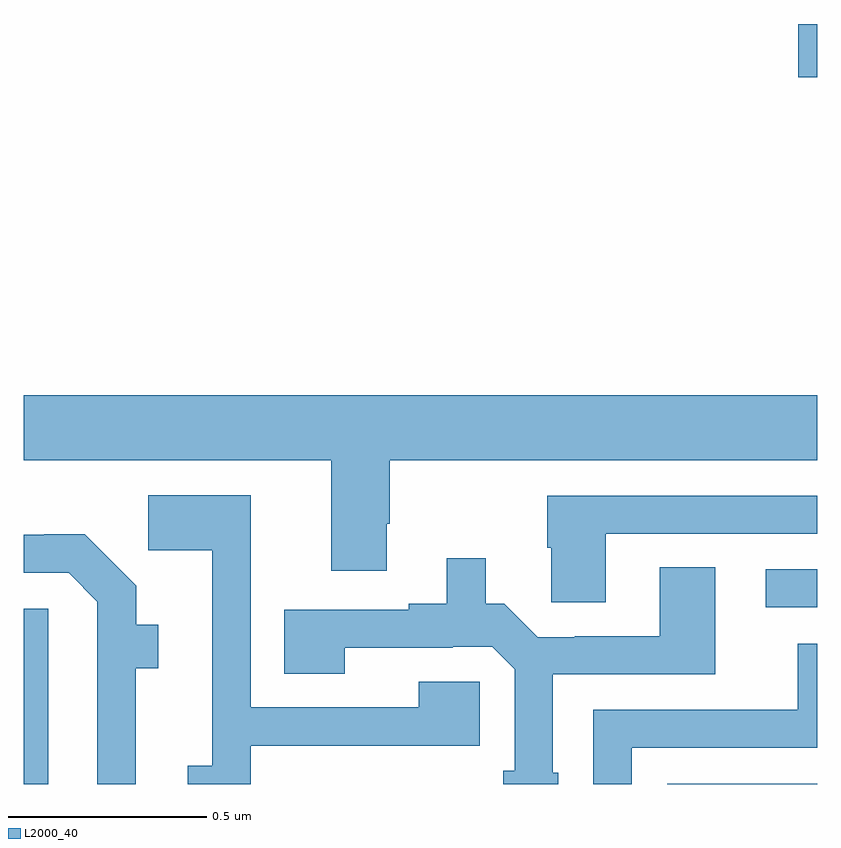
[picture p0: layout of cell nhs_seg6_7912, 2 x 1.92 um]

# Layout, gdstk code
import gdstk
lib = gdstk.Library(unit=1e-6, precision=1e-09)
def R(c, l, rs):  # rectangles x0, y0, x1, y1
    for r in rs: c.add(gdstk.rectangle(r[:2], r[2:], *l))
def P(c, l, *ps):  # polygons
    for p in ps: c.add(gdstk.Polygon(p, *l))
L2000_40 = (2000, 40)

nhs_seg6_7912 = lib.new_cell('nhs_seg6_7912')
R(nhs_seg6_7912, L2000_40, [(214,966.5,214.062,966.942), (215.622,966.5,216,966.501), (215.871,966.945,216,967.041), (215.952,968.282,216,968.416)])
P(nhs_seg6_7912, L2000_40, [(214.915,967.156),(214.923,967.156),(214.923,967.316),(216,967.316),(216,967.48),(214,967.48),(214,967.316),(214.775,967.316),(214.775,967.038),(214.915,967.038)],
  [(214.572,966.596),(215.039,966.596),(215.039,966.597),(215.149,966.597),(215.149,966.758),(214.996,966.758),(214.996,966.693),(214.572,966.693),(214.572,967.228),(214.314,967.228),(214.314,967.089),(214.475,967.089),(214.475,966.546),(214.413,966.546),(214.413,966.5),(214.572,966.5)],
  [(215.467,967.131),(216,967.131),(216,967.227),(215.32,967.227),(215.32,967.095),(215.329,967.095),(215.329,966.958),(215.467,966.958)],
  [(214.282,966.792),(214.339,966.792),(214.339,966.902),(214.283,966.902),(214.283,967),(214.153,967.13),(214.052,967.13),(214.052,967.128),(214,967.128),(214,967.032),(214.113,967.032),(214.185,966.96),(214.185,966.5),(214.282,966.5)],
  [(215.347,966.528),(215.334,966.528),(215.334,966.777),(215.743,966.777),(215.743,967.046),(215.603,967.046),(215.603,966.873),(215.389,966.873),(215.389,966.87),(215.295,966.87),(215.211,966.954),(215.164,966.954),(215.164,967.069),(215.066,967.069),(215.066,966.954),(214.97,966.954),(214.97,966.939),(214.657,966.939),(214.657,966.778),(214.809,966.778),(214.809,966.843),(215.081,966.843),(215.081,966.846),(215.181,966.846),(215.238,966.789),(215.238,966.534),(215.208,966.534),(215.208,966.5),(215.347,966.5)],
  [(215.532,966.591),(216,966.591),(216,966.853),(215.951,966.853),(215.951,966.687),(215.436,966.687),(215.436,966.5),(215.532,966.5)])

lib.write_gds('nhs_seg6_7912.gds')
